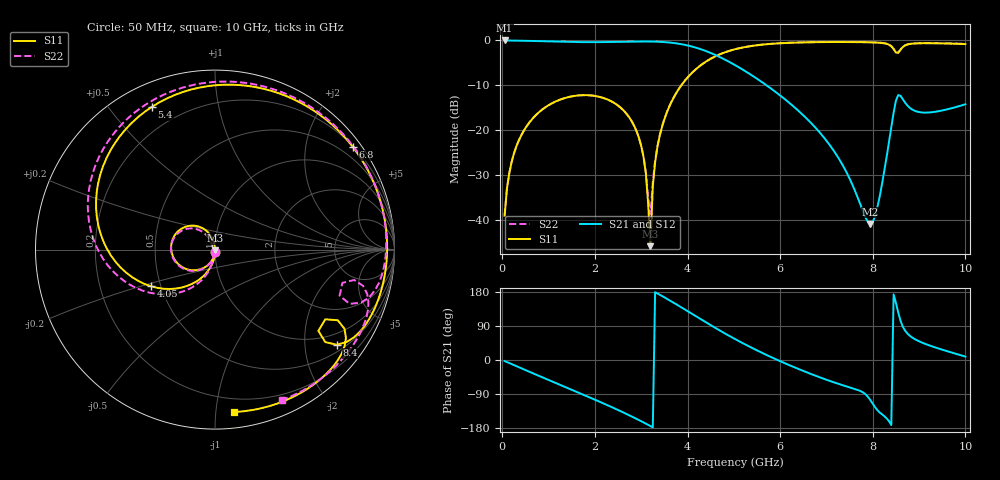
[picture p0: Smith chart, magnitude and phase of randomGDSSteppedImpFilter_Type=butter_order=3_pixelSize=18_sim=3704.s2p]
! freq	dB(S11)	phase(S11)	dB(S12)	phase(S12)
!  dB(S21)	phase(S21)	dB(S22)	phase(S22)
!S-par simulation data
#  GHz  S  DB  R 50
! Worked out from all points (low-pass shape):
!   200 points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, 50 MHz to 10 GHz, reference 50 ohm
!   highest |S21| = 0.00 dB at 50 MHz (marker M1); lowest = -41.0 dB at 7.95 GHz (marker M2)
!   |S21| within 3 dB of the highest: start of sweep to 4.547 GHz
!   lowest |S11| = -45.9 dB at 3.2 GHz (marker M3), VSWR 1.01, Z = 50.2 - j0.453 ohm
!   |S11| at or under -10 dB: start of sweep to 3.869 GHz
!   |S22| runs from -39.1 to -0.3 dB; largest |S21 - S12| = 0
!   S11 on the Smith chart (normalised r, x): 50 MHz: 1.00, -0.02; 4.05 GHz: 0.44, -0.22; 5.4 GHz: 0.10, +0.65; 6.8 GHz: 0.22, +3.00; 8.4 GHz: 0.68, -2.75; 10 GHz: 0.11, -1.12
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0.05  -39.14 -92.4  -0.00 -2.7  -0.00 -2.7  -39.13 -92.3
0.2  -27.21 -101.0  -0.03 -10.7  -0.03 -10.7  -27.21 -100.6
0.5  -19.56 -117.6  -0.08 -26.6  -0.08 -26.6  -19.56 -116.7
1.75  -12.22 175.9  -0.38 -91.6  -0.38 -91.6  -12.22 179.6
2.85  -19.12 113.6  -0.25 -152.4  -0.25 -152.4  -19.13 123.4
3.1  -29.68 97.2  -0.23 -167.9  -0.23 -167.9  -29.42 120.5
3.2  -45.94 -63.3  -0.24 -174.4  -0.24 -174.4  -38.81 -150.1
3.25  -32.62 -90.9  -0.25 -177.7  -0.25 -177.7  -31.67 -109.8
3.4  -21.27 -102.0  -0.31 172.3  -0.31 172.3  -21.14 -102.8
4.05  -7.73 -150.2  -1.24 125.3  -1.24 125.3  -7.70 -143.2
4.6  -3.56 168.3  -3.24 84.7  -3.24 84.7  -3.54 177.9
5.05  -1.91 136.6  -5.65 53.6  -5.65 53.6  -1.90 147.9
5.4  -1.21 113.8  -7.87 31.4  -7.87 31.4  -1.20 126.5
6  -0.63 78.3  -12.29 -3.1  -12.29 -3.1  -0.62 93.1
6.7  -0.39 41.6  -18.79 -38.5  -18.79 -38.5  -0.39 58.2
6.8  -0.38 36.7  -19.91 -43.2  -19.91 -43.2  -0.37 53.5
7.95  -0.42 -15.3  -40.99 -106.2  -40.99 -106.2  -0.40 2.6
8.35  -0.96 -35.1  -22.75 -161.3  -22.75 -161.3  -0.91 -17.1
8.4  -1.31 -38.0  -19.41 -171.6  -19.41 -171.6  -1.25 -20.0
8.55  -2.77 -32.3  -12.19 125.1  -12.19 125.1  -2.69 -14.6
8.9  -0.68 -43.9  -15.68 55.6  -15.68 55.6  -0.65 -26.1
10  -0.81 -83.4  -14.25 9.0  -14.25 9.0  -0.75 -65.9
